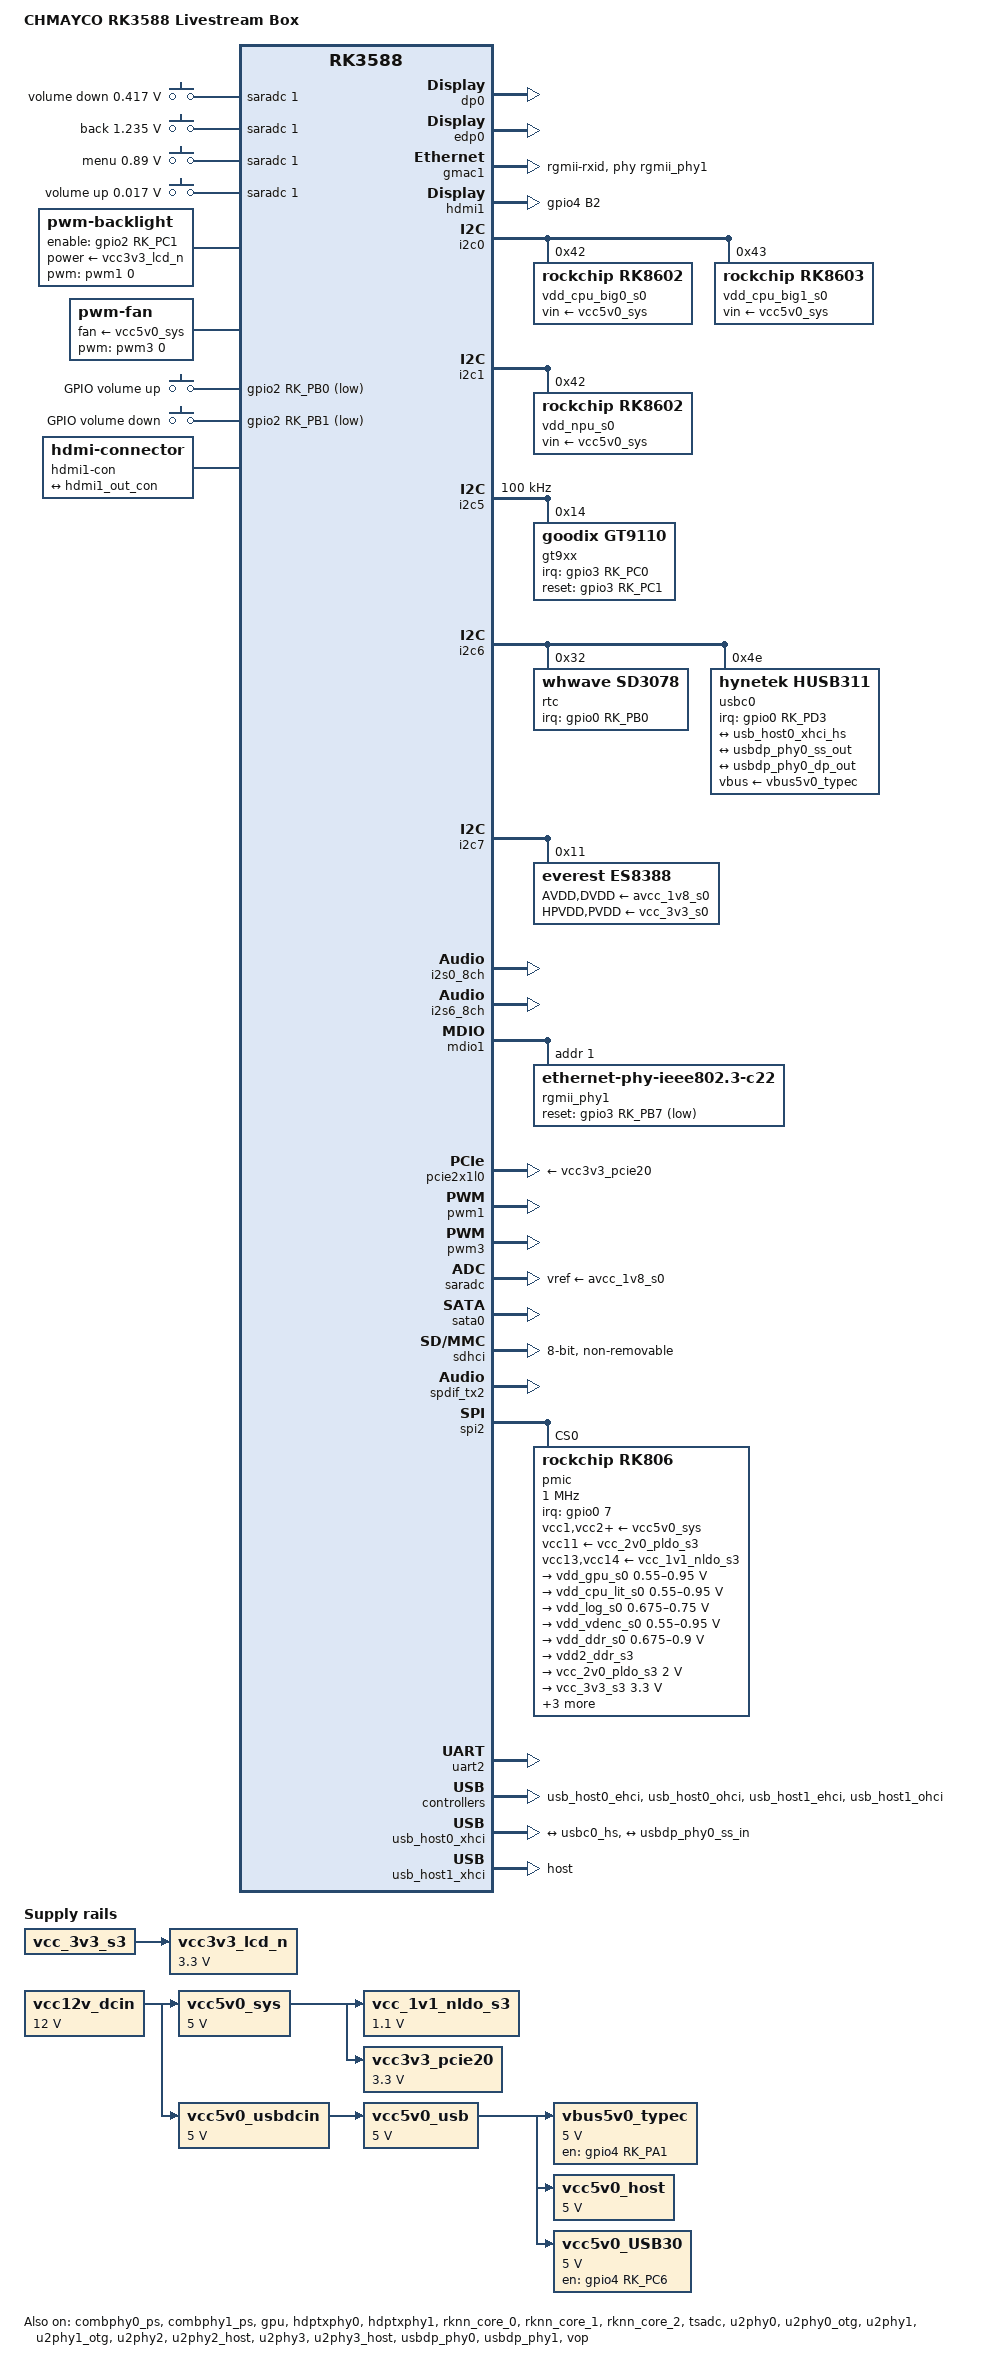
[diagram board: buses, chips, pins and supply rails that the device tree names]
// SPDX-License-Identifier: (GPL-2.0+ OR MIT)
/*
 * CHMAYCO RK3588 livestream box -- Linux 7.3 mainline device tree.
 */

/dts-v1/;

#include <dt-bindings/gpio/gpio.h>
#include <dt-bindings/interrupt-controller/irq.h>
#include <dt-bindings/leds/common.h>
#include <dt-bindings/soc/rockchip,vop2.h>
#include <dt-bindings/thermal/thermal.h>
#include <dt-bindings/usb/pd.h>
#include "rk3588.dtsi"

/ {
	model = "CHMAYCO RK3588 Livestream Box";

	compatible = "chmayco,rk3588-livestream", "rockchip,rk3588";

	adc-keys {
		compatible = "adc-keys";
		io-channels = <&saradc 1>;
		io-channel-names = "buttons";
		keyup-threshold-microvolt = <1800000>;
		poll-interval = <100>;

		button-vol-down {
			label = "volume down";
			linux,code = <114>;	/* KEY_VOLUMEDOWN */
			press-threshold-microvolt = <417000>;
		};

		button-back {
			label = "back";
			linux,code = <158>;
			press-threshold-microvolt = <1235000>;
		};

		button-menu {
			label = "menu";
			linux,code = <139>;
			press-threshold-microvolt = <890000>;
		};

		button-vol-up {
			label = "volume up";
			linux,code = <115>;	/* KEY_VOLUMEUP */
			press-threshold-microvolt = <17000>;
		};
	};

	aliases {
		ethernet0 = &gmac1;
		mmc0 = &sdhci;
		mmc1 = &sdmmc;
		mmc2 = &sdio;
	};

	backlight: backlight {
		compatible = "pwm-backlight";
		pwms = <&pwm1 0 1000000 0>;
		brightness-levels = <0 1 2 4 8 16 32 64 128 192 255>;
		default-brightness-level = <8>;
		enable-gpios = <&gpio2 RK_PC1 GPIO_ACTIVE_HIGH>;
		pinctrl-names = "default";
		pinctrl-0 = <&backlight_en>;
		power-supply = <&vcc3v3_lcd_n>;
		status = "okay";
	};

	chosen {
		stdout-path = "serial2:1500000n8";
	};

	fan: pwm-fan {
		compatible = "pwm-fan";
		cooling-levels = <0 64 128 192 255>;
		fan-supply = <&vcc5v0_sys>;
		pwms = <&pwm3 0 50000 0>;
		#cooling-cells = <2>;
		status = "okay";
	};

	gpio-keys {
		compatible = "gpio-keys";
		autorepeat;
		pinctrl-names = "default";
		pinctrl-0 = <&gpiobtn>;

		button-gpio-up {
			label = "GPIO volume up";
			gpios = <&gpio2 RK_PB0 GPIO_ACTIVE_LOW>;
			linux,code = <115>;	/* KEY_VOLUMEUP */
			debounce-interval = <100>;
		};

		button-gpio-down {
			label = "GPIO volume down";
			gpios = <&gpio2 RK_PB1 GPIO_ACTIVE_LOW>;
			linux,code = <114>;	/* KEY_VOLUMEDOWN */
			debounce-interval = <100>;
		};
	};

	hdmi1-con {
		compatible = "hdmi-connector";
		type = "a";

		port {
			hdmi1_con_in: endpoint {
				remote-endpoint = <&hdmi1_out_con>;
			};
		};
	};

	vbus5v0_typec: regulator-vbus5v0-typec {
		compatible = "regulator-fixed";
		enable-active-high;
		gpio = <&gpio4 RK_PA1 GPIO_ACTIVE_HIGH>;
		pinctrl-names = "default";
		pinctrl-0 = <&typec5v_pwren>;
		regulator-name = "vbus5v0_typec";
		regulator-min-microvolt = <5000000>;
		regulator-max-microvolt = <5000000>;
		vin-supply = <&vcc5v0_usb>;
	};

	vcc_1v1_nldo_s3: regulator-vcc-1v1-nldo-s3 {
		compatible = "regulator-fixed";
		regulator-name = "vcc_1v1_nldo_s3";
		regulator-always-on;
		regulator-boot-on;
		regulator-min-microvolt = <1100000>;
		regulator-max-microvolt = <1100000>;
		vin-supply = <&vcc5v0_sys>;
	};

	vcc12v_dcin: regulator-vcc12v-dcin {
		compatible = "regulator-fixed";
		regulator-name = "vcc12v_dcin";
		regulator-always-on;
		regulator-boot-on;
		regulator-min-microvolt = <12000000>;
		regulator-max-microvolt = <12000000>;
	};

	vcc3v3_lcd_n: regulator-vcc3v3-lcd-n {
		compatible = "regulator-fixed";
		regulator-name = "vcc3v3_lcd_n";
		regulator-always-on;
		regulator-boot-on;
		regulator-min-microvolt = <3300000>;
		regulator-max-microvolt = <3300000>;
		vin-supply = <&vcc_3v3_s3>;
	};

	vcc3v3_pcie20: regulator-vcc3v3-pcie20 {
		compatible = "regulator-fixed";
		regulator-name = "vcc3v3_pcie20";
		regulator-always-on;
		regulator-boot-on;
		regulator-min-microvolt = <3300000>;
		regulator-max-microvolt = <3300000>;
		vin-supply = <&vcc5v0_sys>;
	};

	vcc5v0_host: regulator-vcc5v0-host {
		compatible = "regulator-fixed";
		regulator-name = "vcc5v0_host";
		regulator-always-on;
		regulator-boot-on;
		regulator-min-microvolt = <5000000>;
		regulator-max-microvolt = <5000000>;
		vin-supply = <&vcc5v0_usb>;
	};

	vcc5v0_sys: regulator-vcc5v0-sys {
		compatible = "regulator-fixed";
		regulator-name = "vcc5v0_sys";
		regulator-always-on;
		regulator-boot-on;
		regulator-min-microvolt = <5000000>;
		regulator-max-microvolt = <5000000>;
		vin-supply = <&vcc12v_dcin>;
	};

	vcc5v0_usb: regulator-vcc5v0-usb {
		compatible = "regulator-fixed";
		regulator-name = "vcc5v0_usb";
		regulator-always-on;
		regulator-boot-on;
		regulator-min-microvolt = <5000000>;
		regulator-max-microvolt = <5000000>;
		vin-supply = <&vcc5v0_usbdcin>;
	};

	vcc5v0_USB30: regulator-vcc5v0-usb30 {
		compatible = "regulator-fixed";
		enable-active-high;
		gpio = <&gpio4 RK_PC6 GPIO_ACTIVE_HIGH>;
		pinctrl-names = "default";
		pinctrl-0 = <&vcc5v0_usb30_en>;
		regulator-name = "vcc5v0_USB30";
		regulator-always-on;
		regulator-boot-on;
		regulator-min-microvolt = <5000000>;
		regulator-max-microvolt = <5000000>;
		vin-supply = <&vcc5v0_usb>;
	};

	vcc5v0_usbdcin: regulator-vcc5v0-usbdcin {
		compatible = "regulator-fixed";
		regulator-name = "vcc5v0_usbdcin";
		regulator-always-on;
		regulator-boot-on;
		regulator-min-microvolt = <5000000>;
		regulator-max-microvolt = <5000000>;
		vin-supply = <&vcc12v_dcin>;
	};

	sound {
		compatible = "simple-audio-card";
		simple-audio-card,name = "CHMAYCO-ES8388";
		simple-audio-card,format = "i2s";
		simple-audio-card,mclk-fs = <256>;
		simple-audio-card,bitclock-master = <&sound_cpu>;
		simple-audio-card,frame-master = <&sound_cpu>;
		status = "okay";

		sound_cpu: simple-audio-card,cpu {
			sound-dai = <&i2s0_8ch>;
		};

		simple-audio-card,codec {
			sound-dai = <&es8388>;
			system-clock-frequency = <12288000>;
		};
	};
};

&combphy0_ps {
	status = "okay";
};

&combphy1_ps {
	status = "okay";
};

&cpu_b0 {
	cpu-supply = <&vdd_cpu_big0_s0>;
};

&cpu_b1 {
	cpu-supply = <&vdd_cpu_big0_s0>;
};

&cpu_b2 {
	cpu-supply = <&vdd_cpu_big1_s0>;
};

&cpu_b3 {
	cpu-supply = <&vdd_cpu_big1_s0>;
};

&cpu_l0 {
	cpu-supply = <&vdd_cpu_lit_s0>;
};

&cpu_l1 {
	cpu-supply = <&vdd_cpu_lit_s0>;
};

&cpu_l2 {
	cpu-supply = <&vdd_cpu_lit_s0>;
};

&cpu_l3 {
	cpu-supply = <&vdd_cpu_lit_s0>;
};

&dp0 {
	status = "okay";
};

&dp0_in {
	dp0_in_vp1: endpoint {
		remote-endpoint = <&vp1_out_dp0>;
	};
};

&dp0_out {
	dp0_out_con: endpoint {
		remote-endpoint = <&usbdp_phy0_dp_in>;
	};
};

&edp0 {
	force-hpd;
	status = "okay";

	aux-bus {
		panel {
			compatible = "edp-panel";
			backlight = <&backlight>;
			power-supply = <&vcc3v3_lcd_n>;
			enable-gpios = <&gpio1 RK_PA4 GPIO_ACTIVE_HIGH>;
			no-hpd;
			prepare-delay-ms = <120>;
			enable-delay-ms = <120>;
			disable-delay-ms = <120>;
			unprepare-delay-ms = <120>;

			panel-timing {
				clock-frequency = <152570000>;
				hactive = <1920>;
				vactive = <1080>;
				hfront-porch = <48>;
				hsync-len = <32>;
				hback-porch = <192>;
				vfront-porch = <3>;
				vsync-len = <6>;
				vback-porch = <71>;
				hsync-active = <0>;
				vsync-active = <0>;
				de-active = <0>;
				pixelclk-active = <0>;
			};

			port {
				panel_in_edp0: endpoint {
					remote-endpoint = <&edp0_out_panel>;
				};
			};
		};
	};
};

&edp0_in {
	edp0_in_vp2: endpoint {
		remote-endpoint = <&vp2_out_edp0>;
	};
};

&edp0_out {
	edp0_out_panel: endpoint {
		remote-endpoint = <&panel_in_edp0>;
	};
};

&gmac1 {
	clock_in_out = "output";
	phy-handle = <&rgmii_phy1>;
	phy-mode = "rgmii-rxid";
	pinctrl-names = "default";
	pinctrl-0 = <&gmac1_miim
		     &gmac1_tx_bus2
		     &gmac1_rx_bus2
		     &gmac1_rgmii_clk
		     &gmac1_rgmii_bus>;
	tx_delay = <0x43>;
	status = "okay";
};

&gpu {
	mali-supply = <&vdd_gpu_s0>;
	status = "okay";
};

&hdmi1 {
	frl-enable-gpios = <&gpio4 RK_PB2 GPIO_ACTIVE_HIGH>;
	pinctrl-names = "default";
	pinctrl-0 = <&hdmim2_tx1_cec &hdmim0_tx1_hpd
		     &hdmim1_tx1_scl &hdmim1_tx1_sda &hdmi1_tx_on_h>;
	status = "okay";
};

&hdmi1_in {
	hdmi1_in_vp0: endpoint {
		remote-endpoint = <&vp0_out_hdmi1>;
	};
};

&hdmi1_out {
	hdmi1_out_con: endpoint {
		remote-endpoint = <&hdmi1_con_in>;
	};
};

&hdptxphy0 {
	status = "okay";
};

&hdptxphy1 {
	status = "okay";
};

&i2c0 {
	pinctrl-names = "default";
	pinctrl-0 = <&i2c0m2_xfer>;
	status = "okay";

	vdd_cpu_big0_s0: regulator@42 {
		compatible = "rockchip,rk8602";
		reg = <0x42>;
		fcs,suspend-voltage-selector = <1>;
		regulator-name = "vdd_cpu_big0_s0";
		regulator-always-on;
		regulator-boot-on;
		regulator-min-microvolt = <550000>;
		regulator-max-microvolt = <1050000>;
		regulator-ramp-delay = <2300>;
		vin-supply = <&vcc5v0_sys>;
	};

	vdd_cpu_big1_s0: regulator@43 {
		compatible = "rockchip,rk8603", "rockchip,rk8602";
		reg = <0x43>;
		fcs,suspend-voltage-selector = <1>;
		regulator-name = "vdd_cpu_big1_s0";
		regulator-always-on;
		regulator-boot-on;
		regulator-min-microvolt = <550000>;
		regulator-max-microvolt = <1050000>;
		regulator-ramp-delay = <2300>;
		vin-supply = <&vcc5v0_sys>;
	};
};

&i2c1 {
	pinctrl-names = "default";
	pinctrl-0 = <&i2c1m2_xfer>;
	status = "okay";

	vdd_npu_s0: regulator@42 {
		compatible = "rockchip,rk8602";
		reg = <0x42>;
		fcs,suspend-voltage-selector = <1>;
		regulator-name = "vdd_npu_s0";
		regulator-always-on;
		regulator-boot-on;
		regulator-min-microvolt = <550000>;
		regulator-max-microvolt = <950000>;
		regulator-ramp-delay = <2300>;
		vin-supply = <&vcc5v0_sys>;
	};
};

&i2c5 {
	clock-frequency = <100000>;
	pinctrl-names = "default";
	pinctrl-0 = <&i2c5m0_xfer>;
	status = "okay";

	gt9xx: touchscreen@14 {
		compatible = "goodix,gt9110", "goodix,gt9xx";
		reg = <0x14>;
		interrupt-parent = <&gpio3>;
		interrupts = <RK_PC0 IRQ_TYPE_LEVEL_LOW>;
		irq-gpios = <&gpio3 RK_PC0 GPIO_ACTIVE_HIGH>;
		reset-gpios = <&gpio3 RK_PC1 GPIO_ACTIVE_HIGH>;
		pinctrl-names = "default";
		pinctrl-0 = <&gt9xx_gpios>;
		touchscreen-size-x = <1920>;
		touchscreen-size-y = <1080>;
		status = "okay";
	};
};

&i2c6 {
	pinctrl-names = "default";
	pinctrl-0 = <&i2c6m0_xfer>;
	status = "okay";

	rtc@32 {
		compatible = "whwave,sd3078";
		reg = <0x32>;
		#clock-cells = <0>;
		clock-output-names = "hym8563";
		interrupt-parent = <&gpio0>;
		interrupts = <RK_PB0 IRQ_TYPE_LEVEL_LOW>;
		pinctrl-names = "default";
		pinctrl-0 = <&hym8563_int>;
		wakeup-source;
	};

	usbc0: usb-typec@4e {
		compatible = "hynetek,husb311";
		reg = <0x4e>;
		interrupt-parent = <&gpio0>;
		interrupts = <RK_PD3 IRQ_TYPE_LEVEL_LOW>;
		pinctrl-names = "default";
		pinctrl-0 = <&usbc0_int>;
		vbus-supply = <&vbus5v0_typec>;
		status = "okay";

		connector {
			compatible = "usb-c-connector";
			label = "USB-C";
			data-role = "dual";
			power-role = "dual";
			try-power-role = "sink";
			pd-revision = /bits/ 8 <0x2 0x0 0x1 0x2>;
			source-pdos = <PDO_FIXED(5000, 3000, PDO_FIXED_USB_COMM)>;
			sink-pdos = <PDO_FIXED(5000, 1000, PDO_FIXED_USB_COMM)>;
			op-sink-microwatt = <1000000>;

			altmodes {
				displayport {
					svid = /bits/ 16 <0xff01>;
					vdo = <0xffffffff>;
				};
			};

			ports {
				#address-cells = <1>;
				#size-cells = <0>;

				port@0 {
					reg = <0>;
					usbc0_hs: endpoint {
						remote-endpoint = <&usb_host0_xhci_hs>;
					};
				};

				port@1 {
					reg = <1>;
					usbc0_ss: endpoint {
						remote-endpoint = <&usbdp_phy0_ss_out>;
					};
				};

				port@2 {
					reg = <2>;
					usbc0_sbu: endpoint {
						remote-endpoint = <&usbdp_phy0_dp_out>;
					};
				};
			};
		};
	};
};

&i2c7 {
	pinctrl-names = "default";
	pinctrl-0 = <&i2c7m0_xfer>;
	status = "okay";

	es8388: audio-codec@11 {
		compatible = "everest,es8388", "everest,es8328";
		reg = <0x11>;
		/* MCLKOUT is internal; route the gated clock to the IO pad. */
		clocks = <&cru I2S0_8CH_MCLKOUT_TO_IO>;
		clock-names = "mclk";
		assigned-clocks = <&cru I2S0_8CH_MCLKOUT>;
		assigned-clock-rates = <12288000>;
		AVDD-supply = <&avcc_1v8_s0>;
		DVDD-supply = <&avcc_1v8_s0>;
		HPVDD-supply = <&vcc_3v3_s0>;
		PVDD-supply = <&vcc_3v3_s0>;
		#sound-dai-cells = <0>;
		status = "okay";
	};
};

&i2s0_8ch {
	pinctrl-names = "default";
	pinctrl-0 = <&i2s0_lrck
		     &i2s0_mclk
		     &i2s0_sclk
		     &i2s0_sdi0
		     &i2s0_sdo0>;
	status = "okay";
};

&i2s6_8ch {
	status = "okay";
};

&mdio1 {
	rgmii_phy1: ethernet-phy@1 {
		compatible = "ethernet-phy-ieee802.3-c22";
		reg = <0x1>;
		reset-gpios = <&gpio3 RK_PB7 GPIO_ACTIVE_LOW>;
		reset-assert-us = <20000>;
		reset-deassert-us = <100000>;
		pinctrl-names = "default";
		pinctrl-0 = <&gmac1_phy_rst>;
	};
};

&package_thermal {
	polling-delay = <1000>;

	trips {
		package_fan0: package-fan0 {
			temperature = <55000>;
			hysteresis = <2000>;
			type = "active";
		};

		package_fan1: package-fan1 {
			temperature = <65000>;
			hysteresis = <2000>;
			type = "active";
		};
	};

	cooling-maps {
		map0 {
			trip = <&package_fan0>;
			cooling-device = <&fan THERMAL_NO_LIMIT 1>;
		};

		map1 {
			trip = <&package_fan1>;
			cooling-device = <&fan 2 THERMAL_NO_LIMIT>;
		};
	};
};

&pcie2x1l0 {
	vpcie3v3-supply = <&vcc3v3_pcie20>;
	status = "okay";
};

&pd_gpu {
	domain-supply = <&vdd_gpu_s0>;
};

&pd_npu {
	domain-supply = <&vdd_npu_s0>;
};

&pd_rkvdec0 {
	domain-supply = <&vdd_vdenc_s0>;
};

&pd_rkvdec1 {
	domain-supply = <&vdd_vdenc_s0>;
};

&pd_venc0 {
	domain-supply = <&vdd_vdenc_s0>;
};

&pd_venc1 {
	domain-supply = <&vdd_vdenc_s0>;
};

&pinctrl {
	backlight {
		backlight_en: backlight-en {
			rockchip,pins = <2 RK_PC1 RK_FUNC_GPIO &pcfg_pull_down>;
		};
	};

	buttons {
		gpiobtn: gpiobtn {
			rockchip,pins = <2 RK_PB0 RK_FUNC_GPIO &pcfg_pull_up>,
					<2 RK_PB1 RK_FUNC_GPIO &pcfg_pull_up>;
		};
	};

	ethernet {
		gmac1_phy_rst: gmac1-phy-rst {
			rockchip,pins = <3 RK_PB7 RK_FUNC_GPIO &pcfg_pull_none>;
		};
	};

	hdmi {
		hdmi1_tx_on_h: hdmi1-tx-on-h {
			rockchip,pins = <4 RK_PB2 RK_FUNC_GPIO &pcfg_pull_none>;
		};
	};

	hym8563 {
		hym8563_int: hym8563-int {
			rockchip,pins = <0 RK_PB0 RK_FUNC_GPIO &pcfg_pull_up>;
		};
	};

	touch {
		gt9xx_gpios: gt9xx-gpios {
			rockchip,pins = <3 RK_PC1 RK_FUNC_GPIO &pcfg_pull_down>,
					<3 RK_PC0 RK_FUNC_GPIO &pcfg_pull_up>;
		};
	};

	usb {
		usbc0_int: usbc0-int {
			rockchip,pins = <0 RK_PD3 RK_FUNC_GPIO &pcfg_pull_up>;
		};

		typec5v_pwren: typec5v-pwren {
			rockchip,pins = <4 RK_PA1 RK_FUNC_GPIO &pcfg_pull_none>;
		};

		vcc5v0_usb30_en: vcc5v0-usb30-en {
			rockchip,pins = <4 RK_PC6 RK_FUNC_GPIO &pcfg_pull_none>;
		};
	};
};

&pwm1 {
	status = "okay";
};

&pwm3 {
	status = "okay";
};

/*
 * RK3588 media and accelerator blocks are SoC-wide features.  Only effective
 * status changes are kept; nodes already enabled by rk3588.dtsi omit status.
 */
&rknn_core_0 {
	npu-supply = <&vdd_npu_s0>;
	sram-supply = <&vdd_npu_s0>;
	status = "okay";
};

&rknn_core_1 {
	npu-supply = <&vdd_npu_s0>;
	sram-supply = <&vdd_npu_s0>;
	status = "okay";
};

&rknn_core_2 {
	npu-supply = <&vdd_npu_s0>;
	sram-supply = <&vdd_npu_s0>;
	status = "okay";
};

&rknn_mmu_0 {
	status = "okay";
};

&rknn_mmu_1 {
	status = "okay";
};

&rknn_mmu_2 {
	status = "okay";
};

&saradc {
	vref-supply = <&avcc_1v8_s0>;
	status = "okay";
};

&sata0 {
	status = "okay";
};

&sdhci {
	bus-width = <8>;
	no-sd;
	no-sdio;
	non-removable;
	mmc-hs400-1_8v;
	mmc-hs400-enhanced-strobe;
	status = "okay";
};

&spdif_tx2 {
	status = "okay";
};

&spi2 {
	assigned-clocks = <&cru CLK_SPI2>;
	assigned-clock-rates = <200000000>;
	num-cs = <1>;
	pinctrl-names = "default";
	pinctrl-0 = <&spi2m2_pins>, <&spi2m2_cs0>;
	status = "okay";

	pmic@0 {
		compatible = "rockchip,rk806";
		reg = <0x0>;
		spi-max-frequency = <1000000>;
		interrupt-parent = <&gpio0>;
		interrupts = <7 IRQ_TYPE_LEVEL_LOW>;
		pinctrl-names = "default";
		pinctrl-0 = <&pmic_pins>, <&rk806_dvs1_null>,
			    <&rk806_dvs2_null>, <&rk806_dvs3_null>;
		system-power-controller;
		gpio-controller;
		#gpio-cells = <2>;

		vcc1-supply = <&vcc5v0_sys>;
		vcc2-supply = <&vcc5v0_sys>;
		vcc3-supply = <&vcc5v0_sys>;
		vcc4-supply = <&vcc5v0_sys>;
		vcc5-supply = <&vcc5v0_sys>;
		vcc6-supply = <&vcc5v0_sys>;
		vcc7-supply = <&vcc5v0_sys>;
		vcc8-supply = <&vcc5v0_sys>;
		vcc9-supply = <&vcc5v0_sys>;
		vcc10-supply = <&vcc5v0_sys>;
		vcc11-supply = <&vcc_2v0_pldo_s3>;
		vcc12-supply = <&vcc5v0_sys>;
		vcc13-supply = <&vcc_1v1_nldo_s3>;
		vcc14-supply = <&vcc_1v1_nldo_s3>;
		vcca-supply = <&vcc5v0_sys>;

		rk806_dvs1_null: dvs1-null-pins {
			pins = "gpio_pwrctrl1";
			function = "pin_fun0";
		};

		rk806_dvs2_null: dvs2-null-pins {
			pins = "gpio_pwrctrl2";
			function = "pin_fun0";
		};

		rk806_dvs3_null: dvs3-null-pins {
			pins = "gpio_pwrctrl3";
			function = "pin_fun0";
		};

		regulators {
			vdd_gpu_s0: dcdc-reg1 {
				regulator-boot-on;
				regulator-min-microvolt = <550000>;
				regulator-max-microvolt = <950000>;
				regulator-ramp-delay = <12500>;
				regulator-enable-ramp-delay = <400>;
				regulator-name = "vdd_gpu_s0";
			};

			vdd_cpu_lit_s0: dcdc-reg2 {
				regulator-always-on;
				regulator-boot-on;
				regulator-min-microvolt = <550000>;
				regulator-max-microvolt = <950000>;
				regulator-ramp-delay = <12500>;
				regulator-name = "vdd_cpu_lit_s0";
			};

			vdd_log_s0: dcdc-reg3 {
				regulator-always-on;
				regulator-boot-on;
				regulator-min-microvolt = <675000>;
				regulator-max-microvolt = <750000>;
				regulator-ramp-delay = <12500>;
				regulator-name = "vdd_log_s0";
			};

			vdd_vdenc_s0: dcdc-reg4 {
				regulator-always-on;
				regulator-boot-on;
				regulator-min-microvolt = <550000>;
				regulator-max-microvolt = <950000>;
				regulator-ramp-delay = <12500>;
				regulator-name = "vdd_vdenc_s0";
			};

			vdd_ddr_s0: dcdc-reg5 {
				regulator-always-on;
				regulator-boot-on;
				regulator-min-microvolt = <675000>;
				regulator-max-microvolt = <900000>;
				regulator-ramp-delay = <12500>;
				regulator-name = "vdd_ddr_s0";
			};

			vdd2_ddr_s3: dcdc-reg6 {
				regulator-always-on;
				regulator-boot-on;
				regulator-name = "vdd2_ddr_s3";
			};

			vcc_2v0_pldo_s3: dcdc-reg7 {
				regulator-always-on;
				regulator-boot-on;
				regulator-min-microvolt = <2000000>;
				regulator-max-microvolt = <2000000>;
				regulator-ramp-delay = <12500>;
				regulator-name = "vcc_2v0_pldo_s3";
			};

			vcc_3v3_s3: dcdc-reg8 {
				regulator-always-on;
				regulator-boot-on;
				regulator-min-microvolt = <3300000>;
				regulator-max-microvolt = <3300000>;
				regulator-name = "vcc_3v3_s3";
			};

			vddq_ddr_s0: dcdc-reg9 {
				regulator-always-on;
				regulator-boot-on;
				regulator-name = "vddq_ddr_s0";
			};

			vcc_1v8_s3: dcdc-reg10 {
				regulator-always-on;
				regulator-boot-on;
				regulator-min-microvolt = <1800000>;
				regulator-max-microvolt = <1800000>;
				regulator-name = "vcc_1v8_s3";
			};

			avcc_1v8_s0: pldo-reg1 {
				regulator-always-on;
				regulator-boot-on;
				regulator-min-microvolt = <1800000>;
				regulator-max-microvolt = <1800000>;
				regulator-name = "avcc_1v8_s0";
			};

			vcc_1v8_s0: pldo-reg2 {
				regulator-always-on;
				regulator-boot-on;
				regulator-min-microvolt = <1800000>;
				regulator-max-microvolt = <1800000>;
				regulator-name = "vcc_1v8_s0";
			};

			avdd_1v2_s0: pldo-reg3 {
				regulator-always-on;
				regulator-boot-on;
				regulator-min-microvolt = <1200000>;
				regulator-max-microvolt = <1200000>;
				regulator-name = "avdd_1v2_s0";
			};

			vcc_3v3_s0: pldo-reg4 {
				regulator-always-on;
				regulator-boot-on;
				regulator-min-microvolt = <3300000>;
				regulator-max-microvolt = <3300000>;
				regulator-name = "vcc_3v3_s0";
			};

			vccio_sd_s0: pldo-reg5 {
				regulator-always-on;
				regulator-boot-on;
				regulator-min-microvolt = <1800000>;
				regulator-max-microvolt = <3300000>;
				regulator-name = "vccio_sd_s0";
			};

			pldo6_s3: pldo-reg6 {
				regulator-always-on;
				regulator-boot-on;
				regulator-min-microvolt = <1800000>;
				regulator-max-microvolt = <1800000>;
				regulator-name = "pldo6_s3";
			};

			vdd_0v75_s3: nldo-reg1 {
				regulator-always-on;
				regulator-boot-on;
				regulator-min-microvolt = <750000>;
				regulator-max-microvolt = <750000>;
				regulator-name = "vdd_0v75_s3";
			};

			vdd_ddr_pll_s0: nldo-reg2 {
				regulator-always-on;
				regulator-boot-on;
				regulator-min-microvolt = <850000>;
				regulator-max-microvolt = <850000>;
				regulator-name = "vdd_ddr_pll_s0";
			};

			avdd_0v75_s0: nldo-reg3 {
				regulator-always-on;
				regulator-boot-on;
				regulator-min-microvolt = <750000>;
				regulator-max-microvolt = <750000>;
				regulator-name = "avdd_0v75_s0";
			};

			vdd_0v85_s0: nldo-reg4 {
				regulator-always-on;
				regulator-boot-on;
				regulator-min-microvolt = <850000>;
				regulator-max-microvolt = <850000>;
				regulator-name = "vdd_0v85_s0";
			};

			vdd_0v75_s0: nldo-reg5 {
				regulator-always-on;
				regulator-boot-on;
				regulator-min-microvolt = <750000>;
				regulator-max-microvolt = <750000>;
				regulator-name = "vdd_0v75_s0";
			};
		};
	};
};

&tsadc {
	status = "okay";
};

&u2phy0 {
	status = "okay";
};

&u2phy0_otg {
	status = "okay";
};

&u2phy1 {
	status = "okay";
};

&u2phy1_otg {
	status = "okay";
};

&u2phy2 {
	status = "okay";
};

&u2phy2_host {
	phy-supply = <&vcc5v0_host>;
	status = "okay";
};

&u2phy3 {
	status = "okay";
};

&u2phy3_host {
	phy-supply = <&vcc5v0_host>;
	status = "okay";
};

&uart2 {
	pinctrl-names = "default";
	pinctrl-0 = <&uart2m0_xfer>;
	status = "okay";
};

&usb_host0_ehci {
	status = "okay";
};

&usb_host0_ohci {
	status = "okay";
};

&usb_host0_xhci {
	usb-role-switch;
	status = "okay";

	port {
		#address-cells = <1>;
		#size-cells = <0>;

		usb_host0_xhci_hs: endpoint@0 {
			reg = <0>;
			remote-endpoint = <&usbc0_hs>;
		};

		usb_host0_xhci_ss: endpoint@1 {
			reg = <1>;
			remote-endpoint = <&usbdp_phy0_ss_in>;
		};
	};
};

&usb_host1_ehci {
	status = "okay";
};

&usb_host1_ohci {
	status = "okay";
};

&usb_host1_xhci {
	dr_mode = "host";
	status = "okay";
};

&usbdp_phy0 {
	mode-switch;
	orientation-switch;
	sbu1-dc-gpios = <&gpio4 RK_PA6 GPIO_ACTIVE_HIGH>;
	sbu2-dc-gpios = <&gpio4 RK_PA7 GPIO_ACTIVE_HIGH>;
	rockchip,dp-lane-mux = <2 3>;
	status = "okay";

	port {
		#address-cells = <1>;
		#size-cells = <0>;

		usbdp_phy0_ss_out: endpoint@0 {
			reg = <0>;
			remote-endpoint = <&usbc0_ss>;
		};

		usbdp_phy0_ss_in: endpoint@1 {
			reg = <1>;
			remote-endpoint = <&usb_host0_xhci_ss>;
		};

		usbdp_phy0_dp_in: endpoint@2 {
			reg = <2>;
			remote-endpoint = <&dp0_out_con>;
		};

		usbdp_phy0_dp_out: endpoint@3 {
			reg = <3>;
			remote-endpoint = <&usbc0_sbu>;
		};
	};
};

&usbdp_phy1 {
	status = "okay";
};

&vop {
	assigned-clocks = <&cru DCLK_VOP2_SRC>;
	assigned-clock-parents = <&cru PLL_V0PLL>;
	status = "okay";
};

&vop_mmu {
	status = "okay";
};

&vp0 {
	vp0_out_hdmi1: endpoint@ROCKCHIP_VOP2_EP_HDMI1 {
		reg = <ROCKCHIP_VOP2_EP_HDMI1>;
		remote-endpoint = <&hdmi1_in_vp0>;
	};
};

&vp1 {
	vp1_out_dp0: endpoint@a {
		reg = <ROCKCHIP_VOP2_EP_DP0>;
		remote-endpoint = <&dp0_in_vp1>;
	};
};

&vp2 {
	vp2_out_edp0: endpoint@ROCKCHIP_VOP2_EP_EDP0 {
		reg = <ROCKCHIP_VOP2_EP_EDP0>;
		remote-endpoint = <&edp0_in_vp2>;
	};
};
